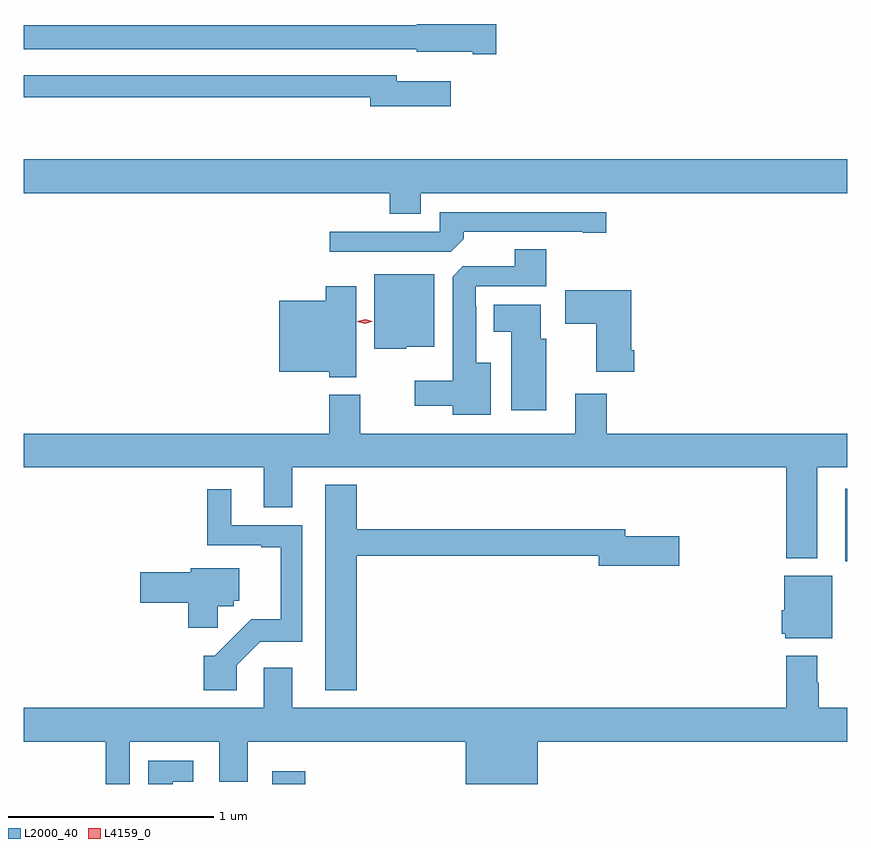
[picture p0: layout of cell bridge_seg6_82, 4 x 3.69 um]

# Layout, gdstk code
import gdstk
lib = gdstk.Library(unit=1e-6, precision=1e-09)
def R(c, l, rs):  # rectangles x0, y0, x1, y1
    for r in rs: c.add(gdstk.rectangle(r[:2], r[2:], *l))
def P(c, l, *ps):  # polygons
    for p in ps: c.add(gdstk.Polygon(p, *l))
L2000_40 = (2000, 40)
L4159_0 = (4159, 0)

bridge_seg6_82 = lib.new_cell('bridge_seg6_82')
R(bridge_seg6_82, L2000_40, [(730.079,965.778,730.24,965.839), (732.863,966.86,732.872,967.213)])
P(bridge_seg6_82, L2000_40, [(731.167,969.47),(730.782,969.47),(730.782,969.464),(728.872,969.464),(728.872,969.348),(730.782,969.348),(730.782,969.335),(731.054,969.335),(731.054,969.323),(731.167,969.323)],
  [(730.945,969.193),(730.684,969.193),(730.684,969.222),(728.872,969.222),(728.872,969.114),(730.556,969.114),(730.556,969.071),(730.945,969.071)],
  [(730.801,968.648),(732.872,968.648),(732.872,968.812),(728.872,968.812),(728.872,968.648),(730.649,968.648),(730.649,968.549),(730.801,968.549)],
  [(731.009,968.426),(731.009,968.46),(731.588,968.46),(731.588,968.455),(731.701,968.455),(731.701,968.556),(730.893,968.556),(730.893,968.46),(730.359,968.46),(730.359,968.364),(730.947,968.364)],
  [(731.14,967.825),(731.071,967.825),(731.071,968.099),(731.067,968.099),(731.067,968.196),(731.411,968.196),(731.411,968.375),(731.258,968.375),(731.258,968.292),(731.004,968.292),(730.955,968.243),(730.955,967.738),(730.77,967.738),(730.77,967.616),(730.955,967.616),(730.955,967.571),(731.14,967.571)],
  [(730.731,967.901),(730.867,967.901),(730.867,968.254),(730.574,968.254),(730.574,967.892),(730.731,967.892)],
  [(730.486,968.197),(730.34,968.197),(730.34,968.125),(730.112,968.125),(730.112,967.781),(730.356,967.781),(730.356,967.754),(730.486,967.754)],
  [(731.837,967.885),(731.824,967.885),(731.824,968.176),(731.502,968.176),(731.502,968.014),(731.654,968.014),(731.654,967.781),(731.837,967.781)],
  [(731.41,967.941),(731.383,967.941),(731.383,968.107),(731.156,968.107),(731.156,967.976),(731.24,967.976),(731.24,967.593),(731.41,967.593)],
  [(728.872,967.316),(730.037,967.316),(730.037,967.122),(730.177,967.122),(730.177,967.316),(732.575,967.316),(732.575,966.875),(732.727,966.875),(732.727,967.316),(732.872,967.316),(732.872,967.48),(731.705,967.48),(731.705,967.675),(731.552,967.675),(731.552,967.48),(730.507,967.48),(730.507,967.669),(730.355,967.669),(730.355,967.48),(728.872,967.48)],
  [(730.49,966.886),(731.666,966.886),(731.666,966.839),(732.055,966.839),(732.055,966.981),(731.794,966.981),(731.794,967.015),(730.49,967.015),(730.49,967.231),(730.337,967.231),(730.337,966.233),(730.49,966.233)],
  [(729.906,966.354),(730.02,966.468),(730.225,966.468),(730.225,967.035),(729.88,967.035),(729.88,967.21),(729.763,967.21),(729.763,966.939),(730.025,966.939),(730.025,966.927),(730.121,966.927),(730.121,966.578),(729.977,966.578),(729.799,966.4),(729.746,966.4),(729.746,966.234),(729.906,966.234)],
  [(729.815,966.642),(729.891,966.642),(729.891,966.669),(729.919,966.669),(729.919,966.826),(729.683,966.826),(729.683,966.806),(729.438,966.806),(729.438,966.659),(729.671,966.659),(729.671,966.537),(729.815,966.537)],
  [(732.799,966.79),(732.566,966.79),(732.566,966.621),(732.554,966.621),(732.554,966.507),(732.57,966.507),(732.57,966.485),(732.799,966.485)],
  [(729.387,965.984),(729.821,965.984),(729.821,965.79),(729.961,965.79),(729.961,965.984),(731.018,965.984),(731.018,965.778),(731.368,965.778),(731.368,965.984),(732.872,965.984),(732.872,966.148),(732.735,966.148),(732.735,966.269),(732.727,966.269),(732.727,966.4),(732.575,966.4),(732.575,966.148),(730.177,966.148),(730.177,966.343),(730.038,966.343),(730.038,966.148),(728.872,966.148),(728.872,965.984),(729.271,965.984),(729.271,965.778),(729.387,965.778)],
  [(729.595,965.789),(729.694,965.789),(729.694,965.89),(729.476,965.89),(729.476,965.778),(729.595,965.778)])
P(bridge_seg6_82, L4159_0, [(730.53,968.015),(730.493,968.024),(730.493,968.024),(730.493,968.025),(730.53,968.035),(730.566,968.026),(730.567,968.026),(730.566,968.026)])

lib.write_gds('bridge_seg6_82.gds')
